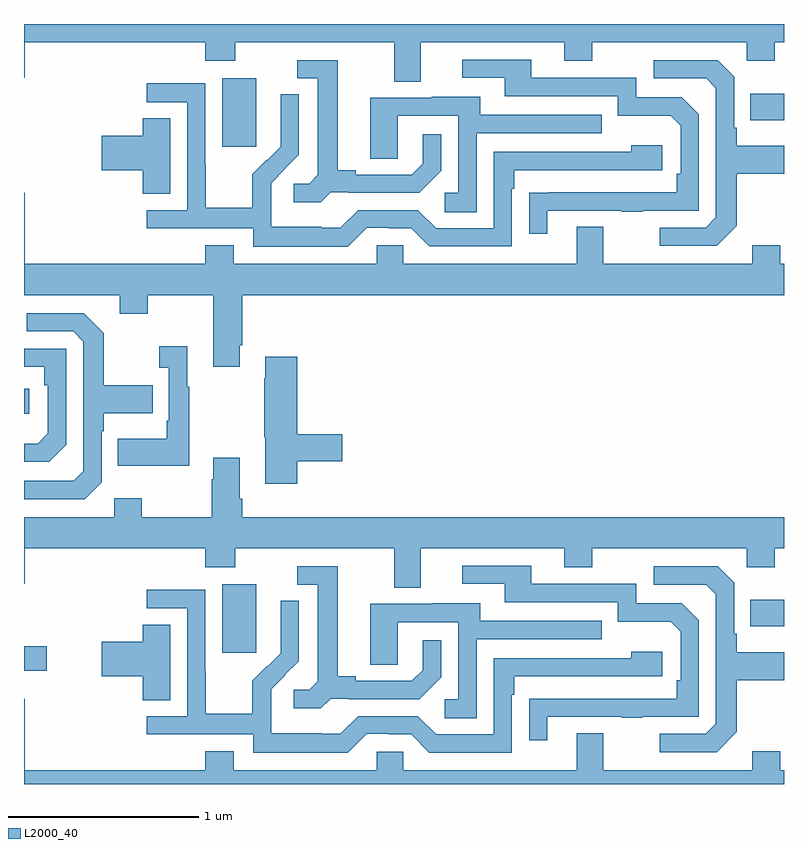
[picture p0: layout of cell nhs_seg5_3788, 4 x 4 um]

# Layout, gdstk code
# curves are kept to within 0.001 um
import gdstk
lib = gdstk.Library(unit=1e-6, precision=1e-09)
def R(c, l, rs):  # rectangles x0, y0, x1, y1
    for r in rs: c.add(gdstk.rectangle(r[:2], r[2:], *l))
def P(c, l, *ps):  # polygons
    for p in ps: c.add(gdstk.Polygon(p, *l))
L2000_40 = (2000, 40)

nhs_seg5_3788 = lib.new_cell('nhs_seg5_3788')
R(nhs_seg5_3788, L2000_40, [(333,909.395,333.121,909.525), (334.043,909.489,334.222,909.85), (336.823,909.629,337,909.769), (333,910.748,333.028,910.878), (334.043,912.153,334.222,912.514), (336.823,912.293,337,912.433)])
P(nhs_seg5_3788, L2000_40, [(335.089,912.704),(335.843,912.704),(335.843,912.605),(335.991,912.605),(335.991,912.704),(336.804,912.704),(336.804,912.605),(336.951,912.605),(336.951,912.704),(337,912.704),(337,912.799),(333,912.799),(333,912.516),(333.004,912.516),(333.004,912.704),(333.953,912.704),(333.953,912.605),(334.113,912.605),(334.113,912.704),(334.949,912.704),(334.949,912.496),(335.089,912.496)],
  [(335.755,911.817),(336.145,911.817),(336.145,911.812),(336.257,911.812),(336.257,911.817),(336.552,911.817),(336.552,912.324),(336.462,912.414),(336.222,912.414),(336.222,912.516),(335.671,912.516),(335.671,912.612),(335.307,912.612),(335.307,912.516),(335.531,912.516),(335.531,912.42),(336.126,912.42),(336.126,912.317),(336.403,912.317),(336.456,912.264),(336.456,912.01),(336.436,912.01),(336.436,911.913),(335.659,911.912),(335.659,911.694),(335.755,911.694)],
  [(336.751,911.737),(336.751,912.01),(337,912.01),(337,912.157),(336.751,912.157),(336.751,912.253),(336.738,912.253),(336.738,912.522),(336.651,912.609),(336.315,912.609),(336.315,912.513),(336.591,912.513),(336.642,912.462),(336.642,911.781),(336.588,911.727),(336.345,911.727),(336.345,911.631),(336.645,911.631)],
  [(334.614,911.913),(334.708,911.913),(334.708,911.91),(335.08,911.91),(335.196,912.026),(335.196,912.22),(335.099,912.22),(335.099,912.063),(335.042,912.006),(334.747,912.006),(334.747,912.029),(334.651,912.029),(334.651,912.609),(334.437,912.609),(334.437,912.513),(334.547,912.513),(334.547,912.005),(334.5,911.958),(334.419,911.958),(334.419,911.861),(334.562,911.861)],
  [(334.803,911.727),(334.919,911.727),(334.919,911.724),(335.037,911.724),(335.133,911.628),(335.568,911.628),(335.568,911.933),(335.581,911.933),(335.581,912.03),(336.358,912.03),(336.358,912.16),(336.197,912.16),(336.197,912.126),(335.472,912.126),(335.472,911.724),(335.169,911.724),(335.073,911.82),(334.758,911.82),(334.665,911.727),(334.565,911.727),(334.565,911.731),(334.302,911.731),(334.302,911.865),(334.3,911.865),(334.3,911.962),(334.446,912.11),(334.446,912.428),(334.35,912.428),(334.35,912.274),(334.352,912.274),(334.352,912.152),(334.281,912.081),(334.278,912.084),(334.201,912.007),(334.201,911.833),(333.957,911.833),(333.957,912.056),(333.954,912.056),(333.954,912.486),(333.645,912.486),(333.645,912.387),(333.858,912.387),(333.858,911.82),(333.645,911.82),(333.645,911.724),(334.206,911.724),(334.206,911.627),(334.703,911.627)],
  [(335.382,912.225),(336.041,912.225),(336.041,912.321),(335.401,912.321),(335.401,912.415),(335.147,912.415),(335.147,912.411),(334.823,912.411),(334.823,912.091),(334.968,912.091),(334.968,912.315),(335.286,912.315),(335.286,911.91),(335.214,911.91),(335.214,911.809),(335.382,911.809)],
  [(333.769,912.302),(333.626,912.302),(333.626,912.212),(333.408,912.212),(333.408,912.029),(333.626,912.029),(333.626,911.905),(333.769,911.905)],
  [(333.004,911.911),(333,911.911),(333,911.372),(333.503,911.372),(333.503,911.273),(333.651,911.273),(333.651,911.372),(333.995,911.372),(333.995,910.995),(334.135,910.995),(334.135,911.107),(334.148,911.107),(334.148,911.372),(337,911.372),(337,911.536),(336.981,911.536),(336.981,911.635),(336.833,911.635),(336.833,911.536),(336.049,911.536),(336.049,911.731),(335.909,911.731),(335.909,911.536),(334.995,911.536),(334.995,911.634),(334.857,911.634),(334.857,911.536),(334.105,911.536),(334.105,911.635),(333.953,911.635),(333.953,911.536),(333.004,911.536)],
  [(333.408,910.386),(333.408,910.655),(333.421,910.655),(333.421,910.751),(333.677,910.751),(333.677,910.899),(333.421,910.899),(333.421,911.171),(333.315,911.277),(333.015,911.277),(333.015,911.181),(333.258,911.181),(333.312,911.127),(333.312,910.446),(333.261,910.395),(333,910.395),(333,910.299),(333.321,910.299)],
  [(333.871,910.891),(333.859,910.891),(333.859,911.104),(333.711,911.104),(333.711,910.991),(333.762,910.991),(333.762,910.711),(333.75,910.711),(333.75,910.615),(333.493,910.615),(333.493,910.475),(333.871,910.475)],
  [(333.222,910.584),(333.222,911.091),(333,911.091),(333,910.995),(333.106,910.995),(333.106,910.898),(333.126,910.898),(333.126,910.644),(333.073,910.591),(333,910.591),(333,910.494),(333.132,910.494)],
  [(334.439,910.498),(334.675,910.498),(334.675,910.64),(334.439,910.64),(334.439,911.047),(334.271,911.047),(334.271,910.934),(334.264,910.934),(334.264,910.623),(334.271,910.623),(334.271,910.38),(334.439,910.38)],
  [(335.089,910.04),(335.843,910.04),(335.843,909.941),(335.991,909.941),(335.991,910.04),(336.804,910.04),(336.804,909.941),(336.951,909.941),(336.951,910.04),(337,910.04),(337,910.204),(334.148,910.204),(334.148,910.3),(334.135,910.3),(334.135,910.516),(333.995,910.516),(333.995,910.403),(333.988,910.403),(333.988,910.204),(333.621,910.204),(333.621,910.303),(333.474,910.303),(333.474,910.204),(333,910.204),(333,909.852),(333.004,909.852),(333.004,910.04),(333.953,910.04),(333.953,909.941),(334.113,909.941),(334.113,910.04),(334.949,910.04),(334.949,909.832),(335.089,909.832)],
  [(335.755,909.153),(336.145,909.153),(336.145,909.148),(336.257,909.148),(336.257,909.153),(336.552,909.153),(336.552,909.66),(336.462,909.75),(336.222,909.75),(336.222,909.852),(335.671,909.852),(335.671,909.948),(335.307,909.948),(335.307,909.852),(335.531,909.852),(335.531,909.756),(336.126,909.756),(336.126,909.653),(336.403,909.653),(336.456,909.6),(336.456,909.346),(336.436,909.346),(336.436,909.249),(335.659,909.248),(335.659,909.03),(335.755,909.03)],
  [(336.751,909.073),(336.751,909.346),(337,909.346),(337,909.493),(336.751,909.493),(336.751,909.589),(336.738,909.589),(336.738,909.858),(336.651,909.945),(336.315,909.945),(336.315,909.849),(336.591,909.849),(336.642,909.798),(336.642,909.117),(336.588,909.063),(336.345,909.063),(336.345,908.967),(336.645,908.967)],
  [(334.614,909.249),(334.708,909.249),(334.708,909.246),(335.08,909.246),(335.196,909.362),(335.196,909.556),(335.099,909.556),(335.099,909.399),(335.042,909.342),(334.747,909.342),(334.747,909.365),(334.651,909.365),(334.651,909.945),(334.437,909.945),(334.437,909.849),(334.547,909.849),(334.547,909.341),(334.5,909.294),(334.419,909.294),(334.419,909.197),(334.562,909.197)],
  [(334.803,909.063),(334.919,909.063),(334.919,909.06),(335.037,909.06),(335.133,908.964),(335.568,908.964),(335.568,909.269),(335.581,909.269),(335.581,909.366),(336.358,909.366),(336.358,909.496),(336.197,909.496),(336.197,909.462),(335.472,909.462),(335.472,909.06),(335.169,909.06),(335.073,909.156),(334.758,909.156),(334.665,909.063),(334.565,909.063),(334.565,909.067),(334.302,909.067),(334.302,909.201),(334.3,909.201),(334.3,909.298),(334.446,909.446),(334.446,909.764),(334.35,909.764),(334.35,909.61),(334.352,909.61),(334.352,909.488),(334.281,909.417),(334.278,909.42),(334.201,909.343),(334.201,909.169),(333.957,909.169),(333.957,909.392),(333.954,909.392),(333.954,909.822),(333.645,909.822),(333.645,909.723),(333.858,909.723),(333.858,909.156),(333.645,909.156),(333.645,909.06),(334.206,909.06),(334.206,908.963),(334.703,908.963)],
  [(335.382,909.561),(336.041,909.561),(336.041,909.657),(335.401,909.657),(335.401,909.751),(335.147,909.751),(335.147,909.747),(334.823,909.747),(334.823,909.427),(334.968,909.427),(334.968,909.651),(335.286,909.651),(335.286,909.246),(335.214,909.246),(335.214,909.145),(335.382,909.145)],
  [(333.769,909.638),(333.626,909.638),(333.626,909.548),(333.408,909.548),(333.408,909.365),(333.626,909.365),(333.626,909.241),(333.769,909.241)],
  [(337,908.872),(336.981,908.872),(336.981,908.971),(336.833,908.971),(336.833,908.872),(336.049,908.872),(336.049,909.067),(335.909,909.067),(335.909,908.872),(334.995,908.872),(334.995,908.97),(334.857,908.97),(334.857,908.872),(334.105,908.872),(334.105,908.971),(333.953,908.971),(333.953,908.872),(333.004,908.872),(333.004,909.247),(333,909.247),(333,908.799),(337,908.799)])

lib.write_gds('nhs_seg5_3788.gds')
